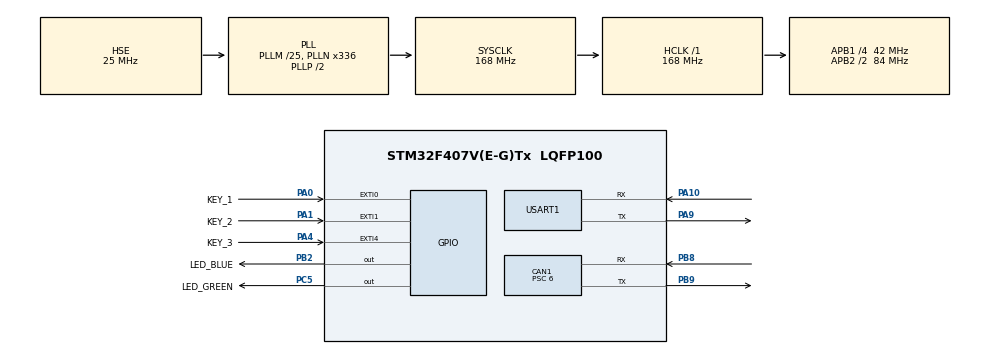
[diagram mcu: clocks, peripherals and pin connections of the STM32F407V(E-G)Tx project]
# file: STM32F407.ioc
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CAN1.BS1=CAN_BS1_11TQ
CAN1.BS2=CAN_BS2_2TQ
CAN1.CalculateBaudRate=500000
CAN1.CalculateTimeBit=2000
CAN1.CalculateTimeQuantum=142.85714285714286
CAN1.Prescaler=6
Mcu.Family=STM32F4
Mcu.Name=STM32F407V(E-G)Tx
Mcu.Package=LQFP100
NVIC.CAN1_RX0_IRQn=true\:0\:0\:false\:false\:true\:true\:true\:true
NVIC.EXTI0_IRQn=true\:0\:0\:false\:false\:true\:true\:true\:true
NVIC.EXTI1_IRQn=true\:0\:0\:false\:false\:true\:true\:true\:true
NVIC.EXTI4_IRQn=true\:0\:0\:false\:false\:true\:true\:true\:true
NVIC.PriorityGroup=NVIC_PRIORITYGROUP_4
PA0-WKUP.GPIO_Label=KEY_1
PA0-WKUP.GPIO_PuPd=GPIO_PULLDOWN
PA0-WKUP.Signal=GPXTI0
PA1.GPIO_Label=KEY_2
PA1.GPIO_ModeDefaultEXTI=GPIO_MODE_IT_FALLING
PA1.GPIO_PuPd=GPIO_PULLUP
PA1.Signal=GPXTI1
PA10.Mode=Asynchronous
PA10.Signal=USART1_RX
PA13.Mode=Serial_Wire
PA13.Signal=SYS_JTMS-SWDIO
PA14.Mode=Serial_Wire
PA14.Signal=SYS_JTCK-SWCLK
PA4.GPIO_Label=KEY_3
PA4.GPIO_ModeDefaultEXTI=GPIO_MODE_IT_FALLING
PA4.GPIO_PuPd=GPIO_PULLUP
PA4.Signal=GPXTI4
PA9.Mode=Asynchronous
PA9.Signal=USART1_TX
PB2.GPIO_Label=LED_BLUE
PB2.PinState=GPIO_PIN_SET
PB2.Signal=GPIO_Output
PB8.Mode=CAN_Activate
PB8.Signal=CAN1_RX
PB9.Mode=CAN_Activate
PB9.Signal=CAN1_TX
PC5.GPIO_Label=LED_GREEN
PC5.PinState=GPIO_PIN_SET
PC5.Signal=GPIO_Output
PH0-OSC_IN.Mode=HSE-External-Oscillator
PH0-OSC_IN.Signal=RCC_OSC_IN
PH1-OSC_OUT.Mode=HSE-External-Oscillator
PH1-OSC_OUT.Signal=RCC_OSC_OUT
ProjectManager.HeapSize=0x1000
ProjectManager.StackSize=0x1000
ProjectManager.TargetToolchain=MDK-ARM V5.32
RCC.48MHZClocksFreq_Value=48000000
RCC.AHBFreq_Value=168000000
RCC.APB1CLKDivider=RCC_HCLK_DIV4
RCC.APB1Freq_Value=42000000
RCC.APB1TimFreq_Value=84000000
RCC.APB2CLKDivider=RCC_HCLK_DIV2
RCC.APB2Freq_Value=84000000
RCC.APB2TimFreq_Value=168000000
RCC.CortexFreq_Value=168000000
RCC.HCLKFreq_Value=168000000
RCC.HSE_VALUE=25000000
RCC.HSI_VALUE=16000000
RCC.LSE_VALUE=32768
RCC.PLLM=25
RCC.PLLN=336
RCC.PLLQ=7
RCC.PLLSourceVirtual=RCC_PLLSOURCE_HSE
RCC.SYSCLKFreq_VALUE=168000000
RCC.SYSCLKSource=RCC_SYSCLKSOURCE_PLLCLK
RCC.VCOOutputFreq_Value=336000000
USART1.VirtualMode=VM_ASYNC
board=custom

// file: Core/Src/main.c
/* USER CODE BEGIN Header */
/**==================================================================================================================
 ** 【代码编写】  魔女开发板团队
 ** 【淘    宝】  魔女开发板       https://demoboard.taobao.com
 **==================================================================================================================
 ** 【工程说明】  开发板出厂综合测试程序
 **
 ** 【功能概述】  本示例为发货前综合测试程序，已完成以下外设初始化与功能验证：
 **               1. UART1 / UART3 串口通信（中断接收 + 数据转发）
 **               2. CAN 总线通信（收发测试 + 数据解析）
 **               3. LCD ILI9341 显示屏（显示 + GUI）
 **               4. XPT2046 触摸屏（坐标检测 + 校准）
 **               5. W25Q128 外部 FLASH（初始化 + 字库检测）
 **               6. 24C02 EEPROM（I2C 读写测试）
 **               7. LED 指示灯（状态闪烁）
 **               8. 按键中断（KEY1/KEY2/KEY3 触发测试）
 **
 ** 【适用平台】  STM32F407 + Keil5 + HAL 库
 **
 ** 【使用说明】  1. 所有用户代码必须写在配对的 USER CODE BEGIN / END 之间，
 **                  否则使用 CubeMX 重新生成代码时会被自动删除。
 **               2. 通过串口助手（115200-8-N-1）观察系统启动信息及外设状态。
 **               3. 可通过串口发送数据，测试 UART1/UART3 转发、CAN 转发及 LCD 显示。
 **               4. 触摸屏校准：串口发送 “XPT2046” 或按下 KEY1 按键。
 **
 ** 【移植说明】  1. 本示例使用软件 I2C（24C02）和 SPI（W25Q128、LCD、触摸屏），
 **                  引脚定义在对应的 bsp 头文件中，无需 CubeMX 配置。
 **               2. CAN 通信需外接 CAN 收发器（PB8、PB9）。
 **               3. UART3 可用于 RS485 或 ESP8266 通信，视跳线帽而定。
 **
 ** 【更新记录】  2024-02-19  完善注释，优化外设初始化流程
 **               2024-02-17  从标准库迁移至 HAL 库
 **
 ** 【备注说明】  版权归魔女科技所有，请勿商用，谢谢！
 **               https://demoboard.taobao.com
 **
==================================================================================================================**/
/* USER CODE END Header */
#include "main.h"
#include "can.h"
#include "usart.h"
#include "gpio.h"

/* USER CODE BEGIN Includes */
// 所用用户代码，必须写在配对的BEGIN与END注释之间，否则重新生成时会被自动删除

#include "bsp_UART.h"           // 串口通信
#include "bsp_W25Q128.h"        // 外部Flash, W25Q128
#include "bsp_lcd_ili9341.h"    // 2.8寸显示屏
#include "bsp_xpt2046.h"        // 触摸屏
#include "bsp_CAN.h"            // CAN
#include "bsp_I2CSoft.h"        // 软件模拟I2C
#include "bsp_24C02.h"          // 24C02

/* USER CODE END Includes */

void SystemClock_Config(void);

/* USER CODE BEGIN 0 */
// 所用用户代码，必须写在配对的BEGIN与END注释之间，否则重新生成时会被自动删除

/* USER CODE END 0 */

int main(void)
{

    /* USER CODE BEGIN 1 */

    /* 说明：
     * 1. 不要删除CubeMX生成的注释行（形如 USER CODE BEGIN/END），这些注释用于代码重新生成时的定位
     * 2. 所有用户自定义代码必须写在对应的BEGIN与END注释行之间，否则重新生成时会被覆盖
     * 3. 主要初始化函数说明：
     *    - HAL_Init()            初始化HAL库，配置中断优先级、系统时基等
     *    - SystemClock_Config()  配置系统时钟
     *    - MX_GPIO_Init()        初始化GPIO引脚（仅包含推挽输出、中断触发等配置）
     *    - 外设功能引脚（如UART、SPI等）的初始化在各自的功能文件中
     */

    /* USER CODE END 1 */

    /* MCU Configuration--------------------------------------------------------*/

    /* Reset of all peripherals, Initializes the Flash interface and the Systick. */
    HAL_Init();

    /* Configure the system clock */
    SystemClock_Config();

    /* Initialize all configured peripherals */
    MX_GPIO_Init();
    MX_USART1_UART_Init();
    MX_CAN1_Init();
    /* USER CODE BEGIN 2 */
    /* 用户代码，必须写在配对的BEGIN与END注释之间; 否则,重新生成时会被自动删除 */

    HAL_GPIO_WritePin(GPIOB, GPIO_PIN_2, GPIO_PIN_RESET);          // 点亮LED_BLUE:  PB2置低电平
    HAL_GPIO_WritePin(GPIOC, GPIO_PIN_5, GPIO_PIN_RESET);          // 点亮LED_GREEN: PC5置低电平

    UART1_Init(115200);                                             // UART1 初始化; 已在bsp_UART.c中处理printf的重定向输出到UART1
    printf("芯片内部FLASH            ");                            // 读取本芯片FLASH大小，
    printf("%d Kbytes\n", *(uint16_t *)(0x1FFF7A22));               // 本地址段，存放着芯片出厂时编写的FLASH大小;　本行另一个作用：示例使用指针读取数据

    W25Q128_Init();                                                 // 设备W25Q128： 引脚初始化，SPI初始化，测试连接, 测试是否存在字库

    LCD_Init();                                                     // 初始化LCD
    LCD_SetDir(0);                                                  // 设置显示的方向; 0-竖屏、1-横屏
    LCD_GUI();                                                      // 示例显示

    XPT2046_Init(LCD_GetWidth(), LCD_GetHeight(), LCD_GetDir());    // 触摸检测 初始化; 参数：屏宽、屏高、显示的方向

    UART3_Init(115200);                                             // UART3初始化，进入接收状态; 用于RS485、ESP8266, 视跳线帽而定

    I2CSoft_Init();
    AT24C02_Init();                                                 // 初始化EEPROM芯片24C02：引脚初始化、读写测试

    CAN1_FilterInit();                                              // 配置CAN1的筛选器; 配置完后启动CAN1; 为方便调试，本函数配置为：接收所有数据帧，包括标准帧、扩展帧
    if (HAL_CAN_Start(&hcan1) == HAL_OK)                            // 启动CAN，并检查返回值：成功-0、错误-1、忙错误-2、超时-3
    {
        printf("CAN1 启动成功! \r");                                // 启动成功
    }
    else
    {
        printf("CAN1 启动失败! \r");                                // 启动失败
        printf("检查PB8、PB9是否已连接收发器！\r");
        //Error_Handler();                                          // 错误处理
    }

    /* USER CODE END 2 */

    /* Infinite loop */
    while (1)
    {

        /* USER CODE BEGIN 3 */
        // 用户代码，必须写在配对的BEGIN与END注释之间; 否则,重新生成时会被自动删除;

        /** 1ms延时 **/
        // HAL_Delay(1 - 1);                                     // 延时函数，参数：ms; 注意：CubeMX生成的HAL_Delay(), 函数内部为避免无效操作，会对传入参数+1，因此，如果只需要几ms延时建议传入参数时-1，如果需要大几百ms的非精准延时，那参数不-1也影响不大

        /******  检查 USART1 是否收到数据 ******/
        static uint32_t lastTime_UART1Show = 0;                  // 定义静态变量，存储串口1数据显示到LCD的最后时间值，用于清屏计时
        if (UART1_GetRxNum())                                    // 如果USART1收到数据(从串口上位机中发过来的）
        {
            // 获取数据
            uint16_t rxNum  = UART1_GetRxNum();                  // 获取最后一帧的字节数
            uint8_t *rxData = UART1_GetRxData();                 // 获取最后一帧的数据(地址)
            // 把收到的数据，printf到串口助手观察
            printf("\r<<<<<< USART1 接收到新数据 <<<<<<");       // 准备输出
            printf("\r 长度(字节数)：%d", rxNum);                // printf 字节数
            printf("\r 数据(16进制)：");                         // printf 16进制方式显示数据，方便观察真实数据
            for (uint16_t i = 0; i < rxNum; i++)                 // 输出每一字节数值
                printf("0x%X ", rxData[i]);
            printf("\r 数据(ASCII) ：%s\r", rxData);             // ASCII方式显示数据，方便观察字符串数据;
            // 通过各个渠道转发，以方便测试
            printf("\r>>>>>> 准备发送下面数据 >>>>>>\r");        // printf 提示转发
            printf("%s", (char *)rxData);                        // printf 发送的具体内容
            UART3_SendData(rxData, rxNum);                       // 通过UART3转发; 视跳线帽而定 RS485或ESP8266
            printf("\r已通过 USART3 转发 \r");
            CAN1_SendData(CAN_ID_EXT, 0x123, rxData, rxNum);     // 通过CAN1转发
            printf("\r已通过 CAN1 转发 \r");
            // 判断数据是否包含某些指令
            if (strstr((char *)rxData, "XPT2046"))               // 判断数据是否包含某些指令
                XPT2046_ReCalibration();                         // 重新校准触摸屏
            // 清0本帧接收
            UART1_ClearRx();                                     // 清0接收(接收字节数); 重要: 处理完数据后，谨记把接收数量清０, 再进入下次判断;
            // 数据显示到 LCD
            lastTime_UART1Show = HAL_GetTick();                  // 记录UART1数据显示到LCD的最后时间值，用于清屏
            static char strUART1[100] = {0};
            memset(strUART1, 0, 100);
            LCD_Fill(120, 71, 239, 125, BLACK);                  // 清0区域显示
            for (uint8_t i = 0; i < 14; i++)
                strUART1[i] = rxData[i];
            LCD_String(125, 71, strUART1, 16, GREEN, BLACK);     // 显示字符串
            uint8_t x = 125;
            for (uint8_t i = 0; i < 6; i++)
            {
                sprintf(strUART1, "%02X ",  rxData[i]);
                LCD_String(x, 88, strUART1, 12, WHITE, BLACK);   // 显示16进制
                x = x + 18;
            }
            x = 125;
            for (uint8_t i = 6; i < 12; i++)
            {
                sprintf(strUART1, "%02X ",  rxData[i]);
                LCD_String(x, 100, strUART1, 12, WHITE, BLACK);  // 显示16进制
                x = x + 18;
            }
            x = 125;
            for (uint8_t i = 12; i < 18; i++)
            {
                sprintf(strUART1, "%02X ", rxData[i]);
                LCD_String(x, 112, strUART1, 12, WHITE, BLACK);  // 显示16进制
                x = x + 18;
            }
        }
        else
        {
            if (HAL_GetTick() - lastTime_UART1Show > 5000)       // 超过N秒没收到新数据，清空LCD上的显示数据
            {
                LCD_Fill(120, 71, 239, 125, BLACK);              // 清0区域显示
                lastTime_UART1Show = HAL_GetTick();              // 记录UART1数据显示到LCD的最后时间值，用于清屏
            }
        }

        /******  检查USART3是否收到数据 ******/
        static uint32_t lastTime_UART3Show = 0;                  // 定义静态变量，存储串口3数据显示到LCD的最后时间值，用于清屏计时
        if (UART3_GetRxNum())                                    // 检查USART3是否收到数据
        {
            // 获取数据
            uint16_t rxNum  = UART3_GetRxNum();                  // 获取最后一帧的字节数
            uint8_t *rxData = UART3_GetRxData();                 // 获取最后一帧的数据(地址)
            // 把收到的数据，printf到串口助手观察
            printf("\r<<<<<< USART3 接收到新数据 <<<<<<");       // 准备输出
            printf("\r 长度(字节数)：%d", rxNum);                // 长度; 单位:字节
            printf("\r 数据(16进制)：");                         // 16进制方式显示数据，方便观察真实数据
            for (uint16_t i = 0; i < rxNum; i++)                 // 输出每一字节数值
                printf("0x%X ", rxData[i]);
            printf("\r 数据(ASCII) ：%s\r", rxData);             // 显示数据， 输出到电脑上位机
            // 判断数据是否包含某些指令
            if (strstr((char *)rxData, "RS485_Test"))            // 判断是否测试工具发过来的数据
                UART3_SendString("RS485_OK");                    // 发回一次报文，方便对方测试;
            // 清0本帧接收
            UART3_ClearRx();                                     // 清0接收(接收字节数); 重要: 处理完数据后，谨记把接收数量清０, 再进入下次判断;
            // 数据显示到 LCD
            lastTime_UART3Show = HAL_GetTick();                  // 记录UART3数据显示到LCD的最后时间值，用于清屏
            static char strUART3[100];
            memset(strUART3, 0, 100);
            LCD_Fill(120, 146, 239, 205, BLACK);                 // 清空显示区域
            for (uint8_t i = 0; i < 14; i++)
                strUART3[i] = rxData[i];
            LCD_String(125, 147, strUART3, 16, GREEN, BLACK);    // 显示字符串
            uint8_t x = 125;
            for (uint8_t i = 0; i < 6; i++)
            {
                sprintf(strUART3, "%02X ",  rxData[i]);
                LCD_String(x, 166, strUART3, 12, WHITE, BLACK);  // 显示16进制
                x = x + 18;
            }
            x = 125;
            for (uint8_t i = 6; i < 12; i++)
            {
                sprintf(strUART3, "%02X ",  rxData[i]);
                LCD_String(x, 179, strUART3, 12, WHITE, BLACK);  // 显示16进制
                x = x + 18;
            }
            x = 125;
            for (uint8_t i = 12; i < 18; i++)
            {
                sprintf(strUART3, "%02X ", rxData[i]);
                LCD_String(x, 192, strUART3, 12, WHITE, BLACK);  // 显示16进制
                x = x + 18;
            }
        }
        else
        {
            if (HAL_GetTick() - lastTime_UART3Show > 5000)       // 超过N秒没收到新数据，清空LCD上的显示数据
            {
                LCD_Fill(120, 146, 239, 205, BLACK);             // 清空显示区域
                lastTime_UART3Show = HAL_GetTick();              // 记录UART3数据显示到LCD的最后时间值，用于清屏
            }
        }

        /** 检查CAN1是否收到数据 **/
        static uint32_t lastTime_CAN1Show = 0;                                          // 定义静态变量，存储 CAN 数据显示到LCD的最后时间值，用于清屏计时
        if (CAN1_GetRxNum())                                                            // 检查接收字节数是否>0，以判断是否接收到新一帧数据
        {
            static uint16_t  canRxCNT = 1;                                              // 用于计算已接收了多少帧数据; 非必要;
            // 1.获取报文 数据
            uint8_t  rxNum = CAN1_GetRxNum();                                           // 获取最后一帧的字节数
            uint8_t *rxData = CAN1_GetRxData();                                         // 获取最后一帧的数据(地址)
            CAN_RxHeaderTypeDef rxHeader = CAN1_GetRxHeader();                          // 获取最后一帧的头部信息
            // 2.解释并打印报文详情 (调试用)
            printf("\r****** CAN 接收到第 %d 帧报文 ******", canRxCNT++);               // 准备把CAN帧报文，详细地输出到串口软件，方便观察调试
            printf("\r 帧类型：%s",   rxHeader.RTR ? "遥控帧" : "数据帧");              // 帧类型
            printf("\r 帧格式：%s",   rxHeader.IDE ? "扩展帧" : "标准帧");              // 帧格式
            printf("\r 帧 ID ：0x%X", rxHeader.IDE ? rxHeader.ExtId : rxHeader.StdId);  // 帧ID
            printf("\r 字节数：%d",   rxHeader.DLC);                                    // 字节数
            printf("\r 筛选器匹配序号：%d", rxHeader.FilterMatchIndex);                 // 筛选器匹配序号; 和筛选器编号，是不一样的。大概：从筛选器0开始，每个16位宽筛选器+2, 32位宽+1, 没有被使用的筛选器，默认是16位宽，+2;
            // 3.打印数据字节（十六进制）
            printf("\r 显示数据(16进制)：");                                            // 16进制方式显示数据，方便观察真实数据
            for (uint8_t i = 0; i < rxNum; i++)                                         // 逐个字节显示CAN的数据值
                printf(" 0x%02X ", rxData[i]);                                          // 格式：16进制显示
            printf("\r");                                                               // 换行，以使每帧的输出更清晰
            // 4.报文是否包含预期执行的指令
            if (strstr((char *)rxData, "CAN_Test"))                                     // 判断是否测试工具发过来的指定数据
            {
                static char strTemp[8] = "CAN_OK";                                      // 测试工具约定好的返回数据
                CAN1_SendData(CAN_ID_EXT, 0x123, (uint8_t *)strTemp, 8);                // 发送CAN报文
            }
            // 5.清0本帧接收
            CAN1_ClearRx();                                                             // 清0接收(接收字节数); 重要: 处理完数据后，谨记把接收数量清０, 再进入下次判断;
            // 6.显示数据到LCD
            static char strCAN[100];
            lastTime_CAN1Show = HAL_GetTick();                                          // 记录CAN1数据显示到LCD的最后时间值，用于清屏
            LCD_Fill(120, 226, 239, 287, BLACK);                                        // 把数据显示到LCD上方便观察
            LCD_String(125, 228, (char *)rxData, 16, GREEN, BLACK);
            sprintf(strCAN, "%X %X %X %X", rxData[0], rxData[1], rxData[2], rxData[3]);
            LCD_String(125, 246, strCAN, 16, WHITE, BLACK);
            sprintf(strCAN, "%X %X %X %X", rxData[4], rxData[5], rxData[6], rxData[7]);
            LCD_String(125, 265, strCAN, 16, WHITE, BLACK);
        }
        else
        {
            if (HAL_GetTick() - lastTime_CAN1Show > 5000)                               // 超过N秒没收到新数据，清空LCD上的显示数据
            {
                LCD_Fill(120, 226, 239, 287, BLACK);
                lastTime_CAN1Show = HAL_GetTick();                                      // 记录 CAN1 数据显示到LCD的最后时间值，用于清屏
            }
        }

        /** 每5ms执行一次的任务 **/
        static uint32_t lastTime_5ms = 0;                                    // 定义静态变量，用于记录上次执行这个任务的时间点(单位：毫秒)
        if (HAL_GetTick() - lastTime_5ms >= 5)                               // 检查当前时间距离上次执行是否已经过了30ms; HAL_GetTick()是获取启动后经过的毫秒数;
        {
            if (XPT2046_IsPressed())                                         // 1.执行动作：检查触摸屏此刻是否按下; 返回：0-未按下、1-按下
            {
                static char str[20] = {0};                                   //   新建数组，用于存放坐标字符串
                LCD_DrawPoint(XPT2046_GetX(), XPT2046_GetY(), GREEN);        //   在按下的位置，画点; 用于测试
                sprintf(str, "%3d  %3d", XPT2046_GetX(), XPT2046_GetY());    //   格式化坐标字符串
                LCD_String(185, 290, str, 12, BLACK, WHITE);                 //   在LCD上显示坐标字符串
            }
            lastTime_5ms =   HAL_GetTick();                                  // 2.更新本任务最后执行的时间值
        }

        /** 每隔500ms，闪烁一次绿色LED **/
        static uint32_t lastTime_500ms = 0;                                  // 定义静态变量，用于记录上次执行这个任务的时间点(单位：毫秒)
        if (HAL_GetTick() - lastTime_500ms >= 500)                           // 检查当前时间距离上次执行是否已经过了500ms; HAL_GetTick()是获取启动后经过的毫秒数;
        {
            /* 执行任务 */
            HAL_GPIO_TogglePin(GPIOC, GPIO_PIN_5);                           // 执行动作。控制绿色LED引脚电平翻转(PC5); 规律地闪烁LED，方便外部观察系统是否正常运行
            /* 更新任务时间戳 */
            lastTime_500ms =   HAL_GetTick();                                // 更新本任务最后执行的时间值
        }

        /** 每1000ms执行一次的任务 **/
        static uint32_t lastTime_1000ms = 0;                                 // 定义静态变量，用于记录上次执行这个任务的时间点(单位：毫秒)
        if (HAL_GetTick() - lastTime_1000ms >= 1000)                         // 检查当前时间距离上次执行是否已经过了1000ms; HAL_GetTick()是获取启动后经过的毫秒数;
        {
            static struct{
            uint8_t h,m,s;
            } time = { 0 };                                                  // 定义一个结构体存储时分秒
            static char timeDate[20];                                        // 定义字符串缓存
            if(++time.s>=60)                                                 // 秒值达到60
            {
                time.s=0;
                if(++time.m>=60)                                             // 分值达到60
                {
                    time.m=0;
                    if(++time.h>=24)                                         // 时值达到24
                    {
                        time.h=0;
                    }
                }
            }
            sprintf(timeDate,"%02d:%02d:%02d", time.h, time.m, time.s);      // 把时分秒转换为字符串
            LCD_String(185, 306, timeDate, 12, BLACK, WHITE);                // 把时分秒显示到LCD
            lastTime_1000ms =   HAL_GetTick();                               // 更新本任务最后执行的时间值
        }

    }
    /* USER CODE END 3 */
}

void SystemClock_Config(void)
{
    RCC_OscInitTypeDef RCC_OscInitStruct = {0};
    RCC_ClkInitTypeDef RCC_ClkInitStruct = {0};

    /** Configure the main internal regulator output voltage
    */
    __HAL_RCC_PWR_CLK_ENABLE();
    __HAL_PWR_VOLTAGESCALING_CONFIG(PWR_REGULATOR_VOLTAGE_SCALE1);

    /** Initializes the RCC Oscillators according to the specified parameters
    * in the RCC_OscInitTypeDef structure.
    */
    RCC_OscInitStruct.OscillatorType = RCC_OSCILLATORTYPE_HSE;
    RCC_OscInitStruct.HSEState = RCC_HSE_ON;
    RCC_OscInitStruct.PLL.PLLState = RCC_PLL_ON;
    RCC_OscInitStruct.PLL.PLLSource = RCC_PLLSOURCE_HSE;
    RCC_OscInitStruct.PLL.PLLM = 25;
    RCC_OscInitStruct.PLL.PLLN = 336;
    RCC_OscInitStruct.PLL.PLLP = RCC_PLLP_DIV2;
    RCC_OscInitStruct.PLL.PLLQ = 7;
    if (HAL_RCC_OscConfig(&RCC_OscInitStruct) != HAL_OK)
    {
        Error_Handler();
    }

    /** Initializes the CPU, AHB and APB buses clocks
    */
    RCC_ClkInitStruct.ClockType = RCC_CLOCKTYPE_HCLK | RCC_CLOCKTYPE_SYSCLK
                                  | RCC_CLOCKTYPE_PCLK1 | RCC_CLOCKTYPE_PCLK2;
    RCC_ClkInitStruct.SYSCLKSource = RCC_SYSCLKSOURCE_PLLCLK;
    RCC_ClkInitStruct.AHBCLKDivider = RCC_SYSCLK_DIV1;
    RCC_ClkInitStruct.APB1CLKDivider = RCC_HCLK_DIV4;
    RCC_ClkInitStruct.APB2CLKDivider = RCC_HCLK_DIV2;

    if (HAL_RCC_ClockConfig(&RCC_ClkInitStruct, FLASH_LATENCY_5) != HAL_OK)
    {
        Error_Handler();
    }
}

/* USER CODE BEGIN 4 */
/* 所有用户代码，必须写在配对的BEGIN与END注释行之间，否则重新生成时会被删除 */

/******************************************************************************
 * 函  数： HAL_GPIO_EXTI_Callback
 * 功  能： EXTI中断回调函数
 * 参  数： uint16_t  GPIO_Pin    引脚编号，参数范围：GPIO_Pin_0 ~ GPIO_Pin_15
 * 返回值： 无
 * 备  注： CubeMX生成的代码在思维和风格上，与使用标准库编写时有很大的区别：
 *          1：这个是回调函数，不是中断服务函数。完整的调用：EXTIx_IRQHandler() > HAL_GPIO_EXTI_IRQHandler(GPIO_PIN_x) > HAL_GPIO_EXTI_Callback(GPIO_PIN_x)
 *          2：必须使用这个函数名称，因为它在CubeMX生成时，已被写好了各种函数调用、函数弱定义(在stm32xx_hal_gpio.c的底部); 不建议在原弱定义中增添代码，而是重写本函数
 *          3：中断条件触发后，本函数被自动调用，无需进行人工调用; 也无需进行中断标志的清理，因为HAL_GPIO_EXTI_IRQHandler()函数中已有操作;
 *          4：生成的所有EXTI中断服务函数，都统一调用这个函数，以引脚编号作参数
 *          5：判断参数传进来的引脚编号，即可知道是哪个外部中断线产生的中断信号
******************************************************************************/
void HAL_GPIO_EXTI_Callback(uint16_t GPIO_Pin)
{
    if (GPIO_Pin == KEY_1_Pin)                                  // 按键1 产生的中断信号：KEY_1、PA0、闲时下拉、按下时高电平、上升沿触发
    {
        HAL_GPIO_TogglePin(GPIOB, GPIO_PIN_2);                  // 反转蓝色LED灯
        printf("KEY_1 按下\r");                                 // 通过串口助手输出提示
        //XPT2046_ReCalibration();                              // 触摸屏重新校准
    }

    if (GPIO_Pin == KEY_2_Pin)                                  // 按键2 产生的中断信号：KEY_2、PA1、闲时上拉、按下时低电平、下降沿触发
    {
        HAL_GPIO_TogglePin(GPIOB, GPIO_PIN_2);                  // 反转蓝色LED灯
        printf("KEY_2 按下\r");                                 // 通过串口助手输出提示
    }

    if (GPIO_Pin == KEY_3_Pin)                                  // 按键3 产生的中断信号：KEY_3、PA4、闲时上拉、按下低高电平、下降沿触发
    {
        HAL_GPIO_TogglePin(GPIOB, GPIO_PIN_2);                  // 反转蓝色LED灯
        printf("KEY_3 按下\r");                                 // 通过串口助手输出提示
    }
}

/* USER CODE END 4 */

void Error_Handler(void)
{
    __disable_irq();
    while (1)
    {
    }
}
